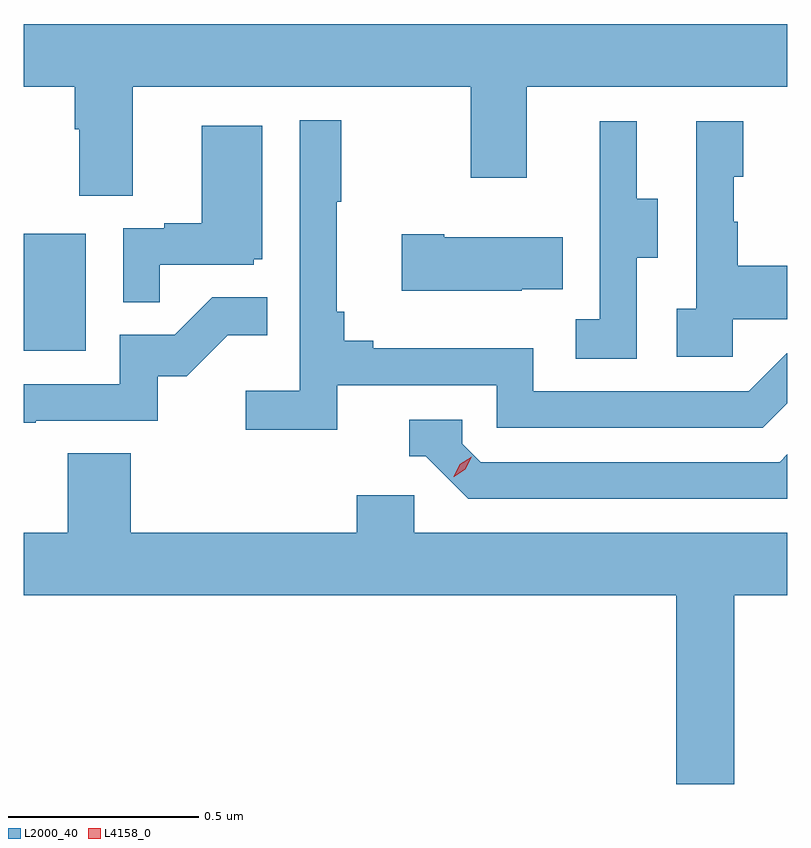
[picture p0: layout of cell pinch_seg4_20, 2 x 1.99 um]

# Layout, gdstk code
import gdstk
lib = gdstk.Library(unit=1e-6, precision=1e-09)
def R(c, l, rs):  # rectangles x0, y0, x1, y1
    for r in rs: c.add(gdstk.rectangle(r[:2], r[2:], *l))
def P(c, l, *ps):  # polygons
    for p in ps: c.add(gdstk.Polygon(p, *l))
L2000_40 = (2000, 40)
L4158_0 = (4158, 0)

pinch_seg4_20 = lib.new_cell('pinch_seg4_20')
R(pinch_seg4_20, L2000_40, [(1109.043,826.764,1109.206,827.071)])
P(pinch_seg4_20, L2000_40, [(1109.329,827.456),(1110.214,827.456),(1110.214,827.217),(1110.361,827.217),(1110.361,827.456),(1111.043,827.456),(1111.043,827.62),(1109.043,827.62),(1109.043,827.456),(1109.177,827.456),(1109.177,827.344),(1109.189,827.344),(1109.189,827.17),(1109.329,827.17)],
  [(1109.864,826.674),(1110.282,826.674),(1110.282,826.563),(1110.979,826.563),(1111.043,826.627),(1111.043,826.758),(1111.041,826.758),(1110.942,826.659),(1110.378,826.659),(1110.378,826.771),(1109.959,826.771),(1109.959,826.79),(1109.882,826.79),(1109.882,826.867),(1109.863,826.867),(1109.863,827.155),(1109.875,827.155),(1109.875,827.368),(1109.766,827.368),(1109.766,826.66),(1109.625,826.66),(1109.625,826.558),(1109.864,826.558)],
  [(1110.648,827.008),(1110.703,827.008),(1110.703,827.163),(1110.649,827.163),(1110.649,827.365),(1110.551,827.365),(1110.551,827.151),(1110.552,827.151),(1110.552,826.847),(1110.489,826.847),(1110.489,826.744),(1110.648,826.744)],
  [(1110.9,826.847),(1111.043,826.847),(1111.043,826.987),(1110.913,826.987),(1110.913,827.102),(1110.903,827.102),(1110.903,827.22),(1110.928,827.22),(1110.928,827.365),(1110.804,827.365),(1110.804,826.874),(1110.753,826.874),(1110.753,826.749),(1110.9,826.749)],
  [(1109.399,826.989),(1109.646,826.989),(1109.646,827.004),(1109.668,827.004),(1109.668,827.353),(1109.51,827.353),(1109.51,827.098),(1109.411,827.098),(1109.411,827.085),(1109.304,827.085),(1109.304,826.891),(1109.399,826.891)],
  [(1110.347,826.925),(1110.455,826.925),(1110.455,827.062),(1110.145,827.062),(1110.145,827.07),(1110.033,827.07),(1110.033,826.922),(1110.347,826.922)],
  [(1109.075,826.581),(1109.394,826.581),(1109.394,826.698),(1109.47,826.698),(1109.577,826.805),(1109.681,826.805),(1109.681,826.904),(1109.537,826.904),(1109.439,826.806),(1109.295,826.806),(1109.295,826.677),(1109.043,826.677),(1109.043,826.576),(1109.075,826.576)],
  [(1111.043,826.493),(1111.023,826.473),(1110.24,826.473),(1110.192,826.521),(1110.192,826.584),(1110.053,826.584),(1110.053,826.488),(1110.096,826.488),(1110.207,826.377),(1111.043,826.377)],
  [(1110.904,826.124),(1111.043,826.124),(1111.043,826.288),(1110.066,826.288),(1110.066,826.386),(1109.915,826.386),(1109.915,826.288),(1109.324,826.288),(1109.324,826.496),(1109.159,826.496),(1109.159,826.288),(1109.043,826.288),(1109.043,826.124),(1110.752,826.124),(1110.752,825.63),(1110.904,825.63)])
P(pinch_seg4_20, L4158_0, [(1110.169,826.434),(1110.169,826.434),(1110.185,826.467),(1110.216,826.487),(1110.216,826.487),(1110.216,826.487),(1110.2,826.454),(1110.17,826.434)])

lib.write_gds('pinch_seg4_20.gds')
